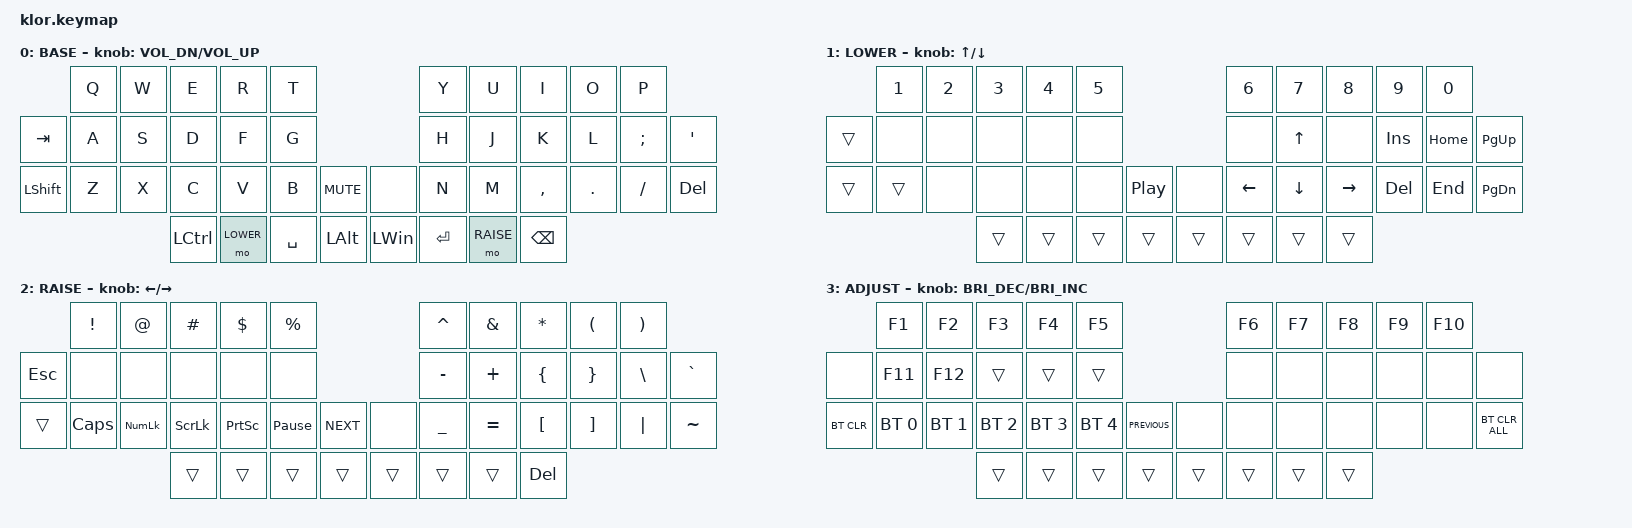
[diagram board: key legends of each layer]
//                               █         █    █            ▄▄▄▀▀▀▀▀▀▄▄▄        █▀▀▀▀▀▀▀▀▀▀█
//                               █        █     █          ▄▀            ▀▄      █          █
//                               █       █      █        ▄▀                ▀▄    █          █
//                               █      █       █        █                  █    █          █
//                               █     █        █       █                    █   █          █
//                               █    █         █       █                    █   █▄▄▄▄▄▄▄▄▄▄█
//                               █   █ █        █       █                    █   █      █
//                               █  █   █       █        █                  █    █       █
//                               █ █     █      █        ▀▄                ▄▀    █        █
//                               ██       █     █          ▀▄            ▄▀      █         █
//                               █         █    █▄▄▄▄▄▄▄▄    ▀▀▀▄▄▄▄▄▄▀▀▀        █          █
//
// ▄▄▄▄▄▄▄▄▄▄▄▄▄▄▄▄▄▄▄▄▄▄▄▄▄▄▄▄▄▄▄▄▄▄▄▄▄▄▄▄▄▄▄▄▄▄▄▄▄▄▄▄▄▄▄▄▄▄▄▄▄▄▄▄▄▄▄▄▄▄▄▄▄▄▄▄▄▄▄▄▄▄▄▄▄▄▄▄▄▄▄▄▄▄▄▄▄▄▄▄▄▄▄▄▄▄▄▄▄▄▄▄▄▄▄▄▄▄▄▄▄▄▄▄▄

#include <behaviors.dtsi>
#include <dt-bindings/zmk/bt.h>
#include <dt-bindings/zmk/keys.h>

#define BASE   0
#define LOWER  1
#define RAISE  2
#define ADJUST 3

/ {
    behaviors {
        hm: homerow_mods {
            compatible = "zmk,behavior-hold-tap";
            label = "HOMEROW_MODS";
            #binding-cells = <2>;
            tapping-term-ms = <150>;
            quick_tap_ms = <0>;
            flavor = "tap-preferred";
            bindings = <&kp>, <&kp>;
        };
    };

    combos {
        compatible = "zmk,combos";

        combo_esc {
            timeout-ms = <50>;
            key-positions = <0 1>;
            bindings = <&kp ESC>;
        };
    };

    keymap {
        compatible = "zmk,keymap";

        // ▄▄▄▄▄▄▄▄▄▄▄▄▄▄▄▄▄▄▄▄▄▄▄▄▄▄▄▄▄▄▄▄▄▄▄▄▄▄▄▄▄▄▄▄▄▄▄▄▄▄▄▄▄▄▄▄▄▄▄▄▄▄▄▄▄▄▄▄▄▄▄▄▄▄▄▄▄▄▄▄▄▄▄▄▄▄▄▄▄▄▄▄▄▄▄▄▄▄▄▄▄▄▄▄▄▄▄▄▄▄▄▄▄▄▄▄▄▄▄▄▄▄▄▄▄▄▄▄▄▄▄▄▄▄▄▄▄▄▄▄▄▄

        base_layer {
            // ┌───────────────────────────────────────────────────────────┐

            label = "BASE";

            // └───────────────────────────────────────────────────────────┘
            /*           ┌─────────┬─────────┬─────────┬─────────┬─────────┐                    ┌─────────┬─────────┬─────────┬─────────┬─────────┐
             │    Q    │    W    │    F    │    P    │    G    │                    │    J    │    L    │    U    │    Y    │    ;    │   
   ┌─────────┼─────────┼─────────┼─────────┼─────────┼─────────┤                    ├─────────┼─────────┼─────────┼─────────┼─────────┼─────────┐
   │   TAB   │    A    │    R    │    S    │    T    │    D    │                    │    H    │    N    │    E    │    I    │    O    │    "    │
   ├─────────┼─────────┼─────────┼─────────┼─────────┼─────────┤╭────────╮╭────────╮├─────────┼─────────┼─────────┼─────────┼─────────┼─────────┤
   │   DEL   │    Z    │    X    │    C    │    V    │    B    ││  MUTE  ││PLY/PSE ││    K    │    M    │    ,    │    .    │    /    │    \    │
   └─────────┴─────────┴─────────┼─────────┼─────────┼─────────┼╰────────╯╰────────╯┼─────────┼─────────┼─────────┼─────────┴─────────┴─────────┘
                                 │  CTRL   │  LOWER  │  SPACE  │   ALT   ││ CMD/WIN │  ENTER  │  RAISE  │  BSPCE  │  
                                 └─────────┴─────────┴─────────┴─────────┘└─────────┴─────────┴─────────┴─────────┘ */

            bindings = <
           &kp Q  &kp W  &kp E      &kp R      &kp T                                &kp Y    &kp U      &kp I      &kp O    &kp P
&kp TAB    &kp A  &kp S  &kp D      &kp F      &kp G                                &kp H    &kp J      &kp K      &kp L    &kp SEMICOLON  &kp SQT
&kp LSHFT  &kp Z  &kp X  &kp C      &kp V      &kp B      &kp C_MUTE  &none         &kp N    &kp M      &kp COMMA  &kp DOT  &kp FSLH       &kp DEL
                         &kp LCTRL  &mo LOWER  &kp SPACE  &kp LALT    &kp LEFT_WIN  &kp RET  &mo RAISE  &kp BSPC
            >;

            sensor-bindings = <&inc_dec_kp C_VOL_DN C_VOL_UP>;
        };

        // ▄▄▄▄▄▄▄▄▄▄▄▄▄▄▄▄▄▄▄▄▄▄▄▄▄▄▄▄▄▄▄▄▄▄▄▄▄▄▄▄▄▄▄▄▄▄▄▄▄▄▄▄▄▄▄▄▄▄▄▄▄▄▄▄▄▄▄▄▄▄▄▄▄▄▄▄▄▄▄▄▄▄▄▄▄▄▄▄▄▄▄▄▄▄▄▄▄▄▄▄▄▄▄▄▄▄▄▄▄▄▄▄▄▄▄▄▄▄▄▄▄▄▄▄▄▄▄▄▄▄▄▄▄▄▄▄▄▄▄▄▄▄

        lower_layer {
            // ┌───────────────────────────────────────────────────────────┐

            label = "LOWER";

            // └───────────────────────────────────────────────────────────┘
            /*           ┌─────────┬─────────┬─────────┬─────────┬─────────┐                    ┌─────────┬─────────┬─────────┬─────────┬─────────┐
             │         │         │    UP   │         │    {    │                    │    }    │    7    │    8    │    9    │    +    │
   ┌─────────┼─────────┼─────────┼─────────┼─────────┼─────────┤                    ├─────────┼─────────┼─────────┼─────────┼─────────┼─────────┐
   │         │         │   LEFT  │  DOWN   │  RIGHT  │    [    │                    │    ]    │    4    │    5    │    6    │    -    │         │
   ├─────────┼─────────┼─────────┼─────────┼─────────┼─────────┤╭────────╮╭────────╮├─────────┼─────────┼─────────┼─────────┼─────────┼─────────┤
   │         │         │   P UP  │ C LOCK  │ P DOWN  │    (    ││        ││        ││    )    │    1    │    2    │    3    │    *    │         │
   └─────────┴─────────┴─────────┼─────────┼─────────┼─────────┼╰────────╯╰────────╯┼─────────┼─────────┼─────────┼─────────┴─────────┴─────────┘
                                 │         │         │         │         ││         │         │    0    │         │  
                                 └─────────┴─────────┴─────────┴─────────┘└─────────┴─────────┴─────────┴─────────┘ */

            bindings = <
        &kp NUMBER_1  &kp NUMBER_2  &kp NUMBER_3  &kp NUMBER_4  &kp N5                            &kp NUMBER_6  &kp N7    &kp N8     &kp N9   &kp N0
&trans  &none         &none         &none         &none         &none                             &none         &kp UP    &none      &kp INS  &kp HOME  &kp PG_UP
&trans  &trans        &none         &none         &none         &none   &kp C_PLAY_PAUSE  &none   &kp LEFT      &kp DOWN  &kp RIGHT  &kp DEL  &kp END   &kp PG_DN
                                    &trans        &trans        &trans  &trans            &trans  &trans        &trans    &trans
            >;

            sensor-bindings = <&inc_dec_kp UP_ARROW DOWN_ARROW>;
        };

        // ▄▄▄▄▄▄▄▄▄▄▄▄▄▄▄▄▄▄▄▄▄▄▄▄▄▄▄▄▄▄▄▄▄▄▄▄▄▄▄▄▄▄▄▄▄▄▄▄▄▄▄▄▄▄▄▄▄▄▄▄▄▄▄▄▄▄▄▄▄▄▄▄▄▄▄▄▄▄▄▄▄▄▄▄▄▄▄▄▄▄▄▄▄▄▄▄▄▄▄▄▄▄▄▄▄▄▄▄▄▄▄▄▄▄▄▄▄▄▄▄▄▄▄▄▄

        raise_layer {
            // ┌───────────────────────────────────────────────────────────┐

            label = "RAISE";

            // └───────────────────────────────────────────────────────────┘
            /*           ┌─────────┬─────────┬─────────┬─────────┬─────────┐                    ┌─────────┬─────────┬─────────┬─────────┬─────────┐
             │         │         │         │         │         │                    │         │         │    Ü    │         │         │
   ┌─────────┼─────────┼─────────┼─────────┼─────────┼─────────┤                    ├─────────┼─────────┼─────────┼─────────┼─────────┼─────────┐
   │    Ä    │         │    ß    │         │         │         │                    │         │         │         │         │    Ö    │         │
   ├─────────┼─────────┼─────────┼─────────┼─────────┼─────────┤╭────────╮╭────────╮├─────────┼─────────┼─────────┼─────────┼─────────┼─────────┤
   │ BT_CLR  │BT_SEL 0 │BT_SEL 1 │         │         │         ││        ││        ││         │         │         │         │         │         │
   └─────────┴─────────┴─────────┼─────────┼─────────┼─────────┼╰────────╯╰────────╯┼─────────┼─────────┼─────────┼─────────┴─────────┴─────────┘
                                 │ ADJUST  │         │         │         ││         │         │         │         │  
                                 └─────────┴─────────┴─────────┴─────────┘└─────────┴─────────┴─────────┴─────────┘ */

            bindings = <
            &kp EXCLAMATION  &kp AT_SIGN     &kp HASH        &kp DOLLAR       &kp PERCENT                          &kp CARET       &kp AMPERSAND  &kp ASTERISK      &kp LEFT_PARENTHESIS  &kp RIGHT_PARENTHESIS
&kp ESCAPE  &none            &none           &none           &none            &none                                &kp MINUS       &kp PLUS       &kp LEFT_BRACE    &kp RIGHT_BRACE       &kp BACKSLASH          &kp GRAVE
&trans      &kp CAPSLOCK     &kp KP_NUMLOCK  &kp SCROLLLOCK  &kp PRINTSCREEN  &kp PAUSE_BREAK  &kp C_NEXT  &none   &kp UNDERSCORE  &kp EQUAL      &kp LEFT_BRACKET  &kp RIGHT_BRACKET     &kp PIPE               &kp TILDE
                                             &trans          &trans           &trans           &trans      &trans  &trans          &trans         &kp DEL
            >;

            sensor-bindings = <&inc_dec_kp LEFT_ARROW RIGHT_ARROW>;
        };

        // ▄▄▄▄▄▄▄▄▄▄▄▄▄▄▄▄▄▄▄▄▄▄▄▄▄▄▄▄▄▄▄▄▄▄▄▄▄▄▄▄▄▄▄▄▄▄▄▄▄▄▄▄▄▄▄▄▄▄▄▄▄▄▄▄▄▄▄▄▄▄▄▄▄▄▄▄▄▄▄▄▄▄▄▄▄▄▄▄▄▄▄▄▄▄▄▄▄▄▄▄▄▄▄▄▄▄▄▄▄▄▄▄▄▄▄▄▄▄▄▄▄▄▄▄▄

        adjust_layer {
            // ┌───────────────────────────────────────────────────────────┐

            label = "ADJUST";

            // └───────────────────────────────────────────────────────────┘
            /*           ┌─────────┬─────────┬─────────┬─────────┬─────────┐                    ┌─────────┬─────────┬─────────┬─────────┬─────────┐
             │         │         │         │         │         │                    │         │         │         │         │         │
   ┌─────────┼─────────┼─────────┼─────────┼─────────┼─────────┤                    ├─────────┼─────────┼─────────┼─────────┼─────────┼─────────┐
   │         │         │         │         │         │         │                    │         │         │         │         │         │         │
   ├─────────┼─────────┼─────────┼─────────┼─────────┼─────────┤╭────────╮╭────────╮├─────────┼─────────┼─────────┼─────────┼─────────┼─────────┤
   │         │         │         │         │         │         ││        ││        ││         │         │         │         │         │         │
   └─────────┴─────────┴─────────┼─────────┼─────────┼─────────┼╰────────╯╰────────╯┼─────────┼─────────┼─────────┼─────────┴─────────┴─────────┘
                                 │         │         │         │         ││         │         │         │         │  
                                 └─────────┴─────────┴─────────┴─────────┘└─────────┴─────────┴─────────┴─────────┘ */

            bindings = <
            &kp F1        &kp F2        &kp F3        &kp F4        &kp F5                                &kp F6  &kp F7  &kp F8  &kp F9  &kp F10
&none       &kp F11       &kp F12       &trans        &trans        &trans                                &none   &none   &none   &none   &none    &none
&bt BT_CLR  &bt BT_SEL 0  &bt BT_SEL 1  &bt BT_SEL 2  &bt BT_SEL 3  &bt BT_SEL 4  &kp C_PREVIOUS  &none   &none   &none   &none   &none   &none    &bt BT_CLR_ALL
                                        &trans        &trans        &trans        &trans          &trans  &trans  &trans  &trans
            >;

            sensor-bindings = <&inc_dec_kp C_BRI_DEC C_BRI_INC>;
        };
    };

    conditional_layers {
        compatible = "zmk,conditional-layers";

        layer_3 {
            if-layers = <1 2>;
            then-layer = <3>;
        };
    };
};
